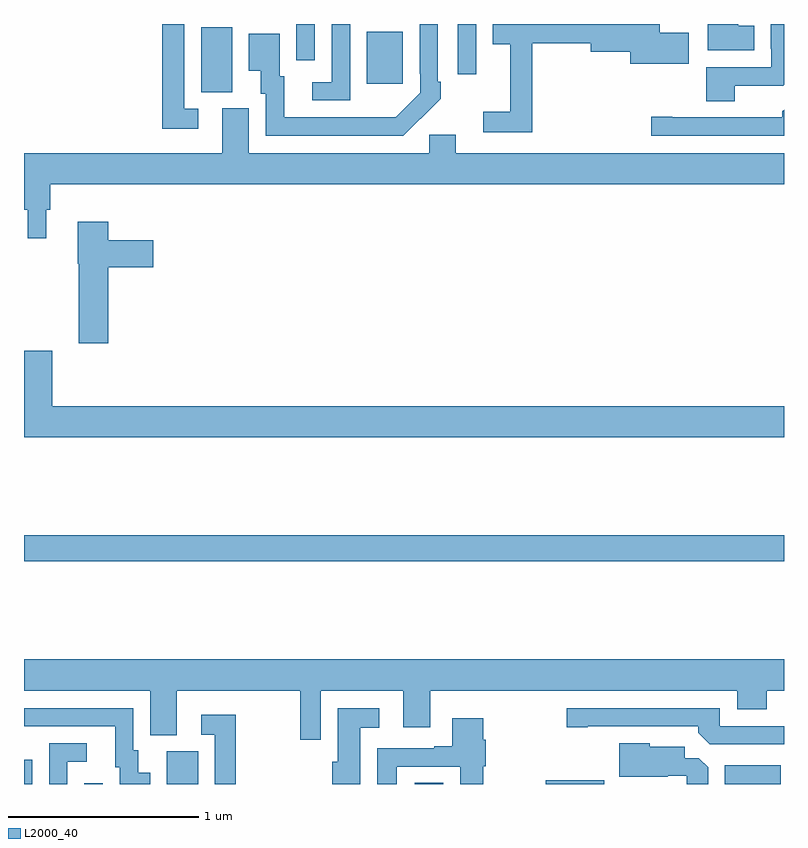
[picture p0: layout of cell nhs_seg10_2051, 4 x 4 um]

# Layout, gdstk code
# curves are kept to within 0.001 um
import gdstk
lib = gdstk.Library(unit=1e-6, precision=1e-09)
def R(c, l, rs):  # rectangles x0, y0, x1, y1
    for r in rs: c.add(gdstk.rectangle(r[:2], r[2:], *l))
def P(c, l, *ps):  # polygons
    for p in ps: c.add(gdstk.Polygon(p, *l))
L2000_40 = (2000, 40)

nhs_seg10_2051 = lib.new_cell('nhs_seg10_2051')
R(nhs_seg10_2051, L2000_40, [(219,1290.5,219.043,1290.628), (219.318,1290.5,219.414,1290.505), (219.752,1290.5,219.916,1290.672), (221.057,1290.5,221.206,1290.506), (221.747,1290.5,222.055,1290.52), (222.689,1290.5,222.982,1290.598), (219,1291.672,223,1291.808), (219.932,1294.141,220.096,1294.484), (220.805,1294.185,220.993,1294.459), (221.283,1294.236,221.379,1294.5), (220.434,1294.308,220.53,1294.5)])
P(nhs_seg10_2051, L2000_40, [(220.716,1294.5),(220.62,1294.5),(220.62,1294.194),(220.518,1294.194),(220.518,1294.098),(220.716,1294.098)],
  [(219.916,1294.053),(219.843,1294.053),(219.843,1294.5),(219.727,1294.5),(219.727,1293.948),(219.916,1293.948)],
  [(222.844,1294.492),(222.76,1294.492),(222.76,1294.5),(222.599,1294.5),(222.599,1294.361),(222.844,1294.361)],
  [(221.087,1294.003),(221.088,1294.002),(221.193,1294.107),(221.193,1294.195),(221.178,1294.195),(221.178,1294.5),(221.082,1294.5),(221.082,1294.237),(221.085,1294.237),(221.085,1294.137),(220.957,1294.009),(220.369,1294.008),(220.369,1294.224),(220.345,1294.224),(220.345,1294.45),(220.184,1294.45),(220.184,1294.253),(220.247,1294.253),(220.247,1294.134),(220.272,1294.134),(220.272,1293.912),(220.996,1293.912)],
  [(221.675,1294.4),(221.984,1294.4),(221.984,1294.355),(222.191,1294.355),(222.191,1294.292),(222.499,1294.292),(222.499,1294.455),(222.346,1294.455),(222.346,1294.5),(221.468,1294.5),(221.468,1294.394),(221.558,1294.394),(221.558,1294.039),(221.418,1294.039),(221.418,1293.93),(221.675,1293.93)],
  [(222.742,1294.176),(222.996,1294.176),(223,1294.18),(223,1294.5),(222.929,1294.5),(222.929,1294.369),(222.933,1294.369),(222.933,1294.272),(222.59,1294.272),(222.59,1294.093),(222.742,1294.093)],
  [(219.118,1293.522),(219.137,1293.522),(219.137,1293.656),(223,1293.656),(223,1293.82),(221.272,1293.82),(221.272,1293.918),(221.133,1293.918),(221.133,1293.82),(220.183,1293.82),(220.183,1294.056),(220.043,1294.056),(220.043,1293.82),(219,1293.82),(219,1293.656),(219.001,1293.656),(219.001,1293.522),(219.02,1293.522),(219.02,1293.372),(219.118,1293.372)],
  [(223,1294.05),(222.992,1294.042),(222.992,1294.008),(222.412,1294.008),(222.412,1294.013),(222.3,1294.013),(222.3,1293.912),(223,1293.912)],
  [(219.443,1293.221),(219.679,1293.221),(219.679,1293.363),(219.443,1293.363),(219.443,1293.46),(219.283,1293.46),(219.283,1293.237),(219.289,1293.237),(219.289,1292.82),(219.443,1292.82)],
  [(223,1292.488),(219.149,1292.488),(219.149,1292.779),(219,1292.779),(219,1292.324),(223,1292.324)],
  [(219,1290.992),(219.665,1290.992),(219.665,1290.757),(219.805,1290.757),(219.805,1290.992),(220.455,1290.992),(220.455,1290.732),(220.563,1290.732),(220.563,1290.992),(220.997,1290.992),(220.997,1290.798),(221.137,1290.798),(221.137,1290.992),(222.755,1290.992),(222.755,1290.893),(222.908,1290.893),(222.908,1290.992),(223,1290.992),(223,1291.156),(219,1291.156)],
  [(219.664,1290.559),(219.601,1290.559),(219.601,1290.678),(219.576,1290.678),(219.576,1290.9),(219,1290.9),(219,1290.804),(219.479,1290.804),(219.479,1290.588),(219.503,1290.588),(219.503,1290.5),(219.664,1290.5)],
  [(223,1290.804),(222.663,1290.804),(222.663,1290.9),(221.856,1290.9),(221.856,1290.799),(221.968,1290.799),(221.968,1290.804),(222.548,1290.804),(222.548,1290.77),(222.609,1290.708),(223,1290.708)],
  [(220.771,1290.797),(220.87,1290.797),(220.87,1290.898),(220.652,1290.898),(220.652,1290.618),(220.622,1290.618),(220.622,1290.5),(220.771,1290.5)],
  [(220.114,1290.865),(219.933,1290.865),(219.933,1290.759),(220.005,1290.759),(220.005,1290.5),(220.114,1290.5)],
  [(220.963,1290.591),(221.297,1290.591),(221.297,1290.5),(221.416,1290.5),(221.416,1290.594),(221.429,1290.594),(221.429,1290.734),(221.416,1290.734),(221.416,1290.847),(221.255,1290.847),(221.255,1290.7),(221.159,1290.7),(221.159,1290.687),(220.859,1290.687),(220.859,1290.5),(220.963,1290.5)],
  [(222.601,1290.587),(222.552,1290.636),(222.478,1290.636),(222.478,1290.697),(222.294,1290.697),(222.294,1290.715),(222.134,1290.715),(222.134,1290.539),(222.389,1290.539),(222.389,1290.543),(222.489,1290.543),(222.489,1290.5),(222.601,1290.5)],
  [(219.228,1290.618),(219.331,1290.618),(219.331,1290.714),(219.132,1290.714),(219.132,1290.5),(219.228,1290.5)])

lib.write_gds('nhs_seg10_2051.gds')
